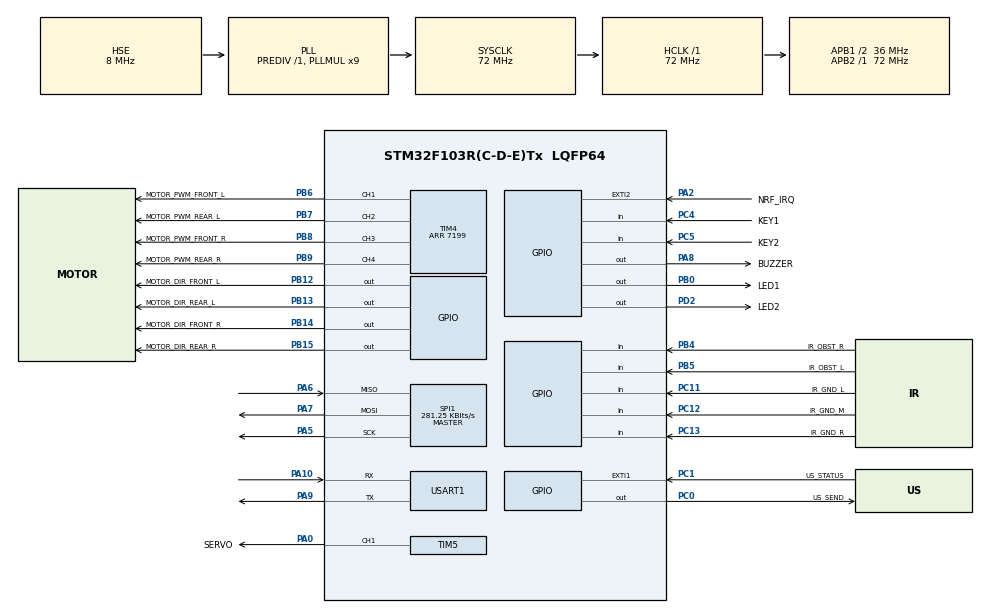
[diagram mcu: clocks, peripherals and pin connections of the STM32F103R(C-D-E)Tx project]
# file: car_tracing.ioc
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Mcu.Family=STM32F1
Mcu.Name=STM32F103R(C-D-E)Tx
Mcu.Package=LQFP64
NVIC.EXTI1_IRQn=true\:2\:2\:true\:false\:true\:true\:true\:true
NVIC.EXTI2_IRQn=true\:0\:0\:false\:false\:true\:true\:true\:true
NVIC.PriorityGroup=NVIC_PRIORITYGROUP_2
PA0-WKUP.GPIO_Label=SERVO
PA0-WKUP.GPIO_Speed=GPIO_SPEED_FREQ_HIGH
PA0-WKUP.Signal=S_TIM5_CH1
PA10.Mode=Asynchronous
PA10.Signal=USART1_RX
PA13.Mode=Serial_Wire
PA13.Signal=SYS_JTMS-SWDIO
PA14.Mode=Serial_Wire
PA14.Signal=SYS_JTCK-SWCLK
PA2.GPIO_Label=NRF_IRQ
PA2.GPIO_ModeDefaultEXTI=GPIO_MODE_IT_FALLING
PA2.GPIO_PuPd=GPIO_PULLDOWN
PA2.Signal=GPXTI2
PA5.Mode=Full_Duplex_Master
PA5.Signal=SPI1_SCK
PA6.Mode=Full_Duplex_Master
PA6.Signal=SPI1_MISO
PA7.Mode=Full_Duplex_Master
PA7.Signal=SPI1_MOSI
PA8.GPIO_Label=BUZZER
PA8.GPIO_Speed=GPIO_SPEED_FREQ_HIGH
PA8.PinState=GPIO_PIN_SET
PA8.Signal=GPIO_Output
PA9.Mode=Asynchronous
PA9.Signal=USART1_TX
PB0.GPIO_Label=LED1
PB0.GPIO_Speed=GPIO_SPEED_FREQ_HIGH
PB0.PinState=GPIO_PIN_SET
PB0.Signal=GPIO_Output
PB12.GPIO_Label=MOTOR_DIR_FRONT_L
PB12.GPIO_Speed=GPIO_SPEED_FREQ_HIGH
PB12.Signal=GPIO_Output
PB13.GPIO_Label=MOTOR_DIR_REAR_L
PB13.GPIO_Speed=GPIO_SPEED_FREQ_HIGH
PB13.Signal=GPIO_Output
PB14.GPIO_Label=MOTOR_DIR_FRONT_R
PB14.GPIO_Speed=GPIO_SPEED_FREQ_HIGH
PB14.Signal=GPIO_Output
PB15.GPIO_Label=MOTOR_DIR_REAR_R
PB15.GPIO_Speed=GPIO_SPEED_FREQ_HIGH
PB15.Signal=GPIO_Output
PB4.GPIO_Label=IR_OBST_R
PB4.GPIO_PuPd=GPIO_PULLUP
PB4.Signal=GPIO_Input
PB5.GPIO_Label=IR_OBST_L
PB5.GPIO_PuPd=GPIO_PULLUP
PB5.Signal=GPIO_Input
PB6.GPIO_Label=MOTOR_PWM_FRONT_L
PB6.GPIO_Speed=GPIO_SPEED_FREQ_HIGH
PB6.Signal=S_TIM4_CH1
PB7.GPIO_Label=MOTOR_PWM_REAR_L
PB7.GPIO_Speed=GPIO_SPEED_FREQ_HIGH
PB7.Signal=S_TIM4_CH2
PB8.GPIO_Label=MOTOR_PWM_FRONT_R
PB8.GPIO_Speed=GPIO_SPEED_FREQ_HIGH
PB8.Signal=S_TIM4_CH3
PB9.GPIO_Label=MOTOR_PWM_REAR_R
PB9.GPIO_Speed=GPIO_SPEED_FREQ_HIGH
PB9.Signal=S_TIM4_CH4
PC0.GPIO_Label=US_SEND
PC0.GPIO_Speed=GPIO_SPEED_FREQ_HIGH
PC0.Signal=GPIO_Output
PC1.GPIO_Label=US_STATUS
PC1.GPIO_PuPd=GPIO_PULLDOWN
PC1.Signal=GPXTI1
PC11.GPIO_Label=IR_GND_L
PC11.GPIO_PuPd=GPIO_PULLUP
PC11.Signal=GPIO_Input
PC12.GPIO_Label=IR_GND_M
PC12.GPIO_PuPd=GPIO_PULLUP
PC12.Signal=GPIO_Input
PC13-TAMPER-RTC.GPIO_Label=IR_GND_R
PC13-TAMPER-RTC.GPIO_PuPd=GPIO_PULLUP
PC13-TAMPER-RTC.Signal=GPIO_Input
PC4.GPIO_Label=KEY1
PC4.GPIO_PuPd=GPIO_PULLUP
PC4.Signal=GPIO_Input
PC5.GPIO_Label=KEY2
PC5.GPIO_PuPd=GPIO_PULLUP
PC5.Signal=GPIO_Input
PD0-OSC_IN.Mode=HSE-External-Oscillator
PD0-OSC_IN.Signal=RCC_OSC_IN
PD1-OSC_OUT.Mode=HSE-External-Oscillator
PD1-OSC_OUT.Signal=RCC_OSC_OUT
PD2.GPIO_Label=LED2
PD2.GPIO_Speed=GPIO_SPEED_FREQ_HIGH
PD2.PinState=GPIO_PIN_SET
PD2.Signal=GPIO_Output
ProjectManager.HeapSize=0x200
ProjectManager.StackSize=0x400
ProjectManager.TargetToolchain=STM32CubeIDE
RCC.AHBFreq_Value=72000000
RCC.APB1CLKDivider=RCC_HCLK_DIV2
RCC.APB1Freq_Value=36000000
RCC.APB1TimFreq_Value=72000000
RCC.APB2Freq_Value=72000000
RCC.APB2TimFreq_Value=72000000
RCC.HCLKFreq_Value=72000000
RCC.PLLMUL=RCC_PLL_MUL9
RCC.PLLSourceVirtual=RCC_PLLSOURCE_HSE
RCC.SYSCLKFreq_VALUE=72000000
RCC.SYSCLKSource=RCC_SYSCLKSOURCE_PLLCLK
RCC.USBFreq_Value=72000000
SH.S_TIM4_CH1.0=TIM4_CH1,PWM Generation1 CH1
SH.S_TIM4_CH2.0=TIM4_CH2,PWM Generation2 CH2
SH.S_TIM4_CH3.0=TIM4_CH3,PWM Generation3 CH3
SH.S_TIM4_CH4.0=TIM4_CH4,PWM Generation4 CH4
SH.S_TIM5_CH1.0=TIM5_CH1,PWM Generation1 CH1
SPI1.BaudRatePrescaler=SPI_BAUDRATEPRESCALER_256
SPI1.CRCCalculation=SPI_CRCCALCULATION_DISABLE
SPI1.CalculateBaudRate=281.25 KBits/s
SPI1.Direction=SPI_DIRECTION_2LINES
SPI1.Mode=SPI_MODE_MASTER
SPI1.VirtualType=VM_MASTER
TIM1.Prescaler=71
TIM2.Period=5000
TIM2.Prescaler=7199
TIM4.AutoReloadPreload=TIM_AUTORELOAD_PRELOAD_ENABLE
TIM4.Channel-PWM\ Generation1\ CH1=TIM_CHANNEL_1
TIM4.Channel-PWM\ Generation2\ CH2=TIM_CHANNEL_2
TIM4.Channel-PWM\ Generation3\ CH3=TIM_CHANNEL_3
TIM4.Channel-PWM\ Generation4\ CH4=TIM_CHANNEL_4
TIM4.OCMode_PWM-PWM\ Generation1\ CH1=TIM_OCMODE_PWM2
TIM4.OCMode_PWM-PWM\ Generation2\ CH2=TIM_OCMODE_PWM2
TIM4.OCMode_PWM-PWM\ Generation3\ CH3=TIM_OCMODE_PWM2
TIM4.OCMode_PWM-PWM\ Generation4\ CH4=TIM_OCMODE_PWM2
TIM4.Period=7199
TIM5.AutoReloadPreload=TIM_AUTORELOAD_PRELOAD_ENABLE
TIM5.Channel-PWM\ Generation1\ CH1=TIM_CHANNEL_1
TIM5.Channel-PWM\ Generation2\ No\ Output=TIM_CHANNEL_2
TIM5.OC2Preload_PWM=ENABLE
TIM5.Period=9999
TIM5.Prescaler=143
TIM5.TIM_MasterOutputTrigger=TIM_TRGO_RESET
USART1.VirtualMode=VM_ASYNC
VP_TIM1_VS_ClockSourceINT.Mode=Internal
VP_TIM2_VS_ClockSourceINT.Mode=Internal
VP_TIM4_VS_ClockSourceINT.Mode=Internal
VP_TIM5_VS_ClockSourceINT.Mode=Internal
VP_TIM5_VS_no_output2.Mode=PWM Generation2 No Output
board=custom

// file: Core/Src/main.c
/* USER CODE BEGIN Header */
/**
  ******************************************************************************
  * @file           : main.c
  * @brief          : Main program body
  ******************************************************************************
  * @attention
  *
  * Copyright (c) 2024 STMicroelectronics.
  * All rights reserved.
  *
  * This software is licensed under terms that can be found in the LICENSE file
  * in the root directory of this software component.
  * If no LICENSE file comes with this software, it is provided AS-IS.
  *
  ******************************************************************************
  */
/* USER CODE END Header */
#include "main.h"
#include "spi.h"
#include "tim.h"
#include "usart.h"
#include "gpio.h"

/* USER CODE BEGIN Includes */
//#include "myMotor.h"
#include "utils.h"
#include "strings.h"
#include "24l01.h"
#include "atk_ms6050.h"
#include "inv_mpu.h"
/* USER CODE END Includes */

/* USER CODE BEGIN PV */
const uint32_t interval_millis = 500;
uint32_t current_millis = 0;
uint8_t nrf_rx_buf[32] = {0};
uint8_t nrf_tx_buf[32] = {0};
uint8_t command_ready = 0;
extern float desired_yaw;

/* USER CODE END PV */

void SystemClock_Config(void);

int main(void)
{

  /* MCU Configuration--------------------------------------------------------*/

  /* Reset of all peripherals, Initializes the Flash interface and the Systick. */
  HAL_Init();

  /* Configure the system clock */
  SystemClock_Config();

  /* Initialize all configured peripherals */
  MX_GPIO_Init();
  MX_TIM5_Init();
  MX_TIM2_Init();
  MX_TIM1_Init();
  MX_TIM4_Init();
  MX_SPI1_Init();
  MX_USART1_UART_Init();
  /* USER CODE BEGIN 2 */

  HAL_TIM_Base_Start(&htim1);
  HAL_TIM_PWM_Start(&htim4, TIM_CHANNEL_1);
  HAL_TIM_PWM_Start(&htim4, TIM_CHANNEL_2);
  HAL_TIM_PWM_Start(&htim4, TIM_CHANNEL_3);
  HAL_TIM_PWM_Start(&htim4, TIM_CHANNEL_4);
  HAL_TIM_PWM_Start(&htim5, TIM_CHANNEL_1);

  car_brake();

//  while (1) {
//
//		SearchRun();
//
//  }

  /*探测*/
  uint8_t ret;
    /* 初始化ATK-MS6050 */
    ret = atk_ms6050_init();
    if (ret != 0)
    {
  //      HAL_UART_Transmit(&huart1, (uint8_t*)"ATK-MS6050 init failed!\r\n", strlen("ATK-MS6050 init failed!\r\n"), HAL_MAX_DELAY);
        while (1)
        {
      	  TOGGLE_LED1;
            HAL_Delay(200);
        }
    }

    /* 初始化ATK-MS6050 DMP */
    ret = atk_ms6050_dmp_init();
    if (ret != 0)
    {
  //      HAL_UART_Transmit(&huart1, (uint8_t*)"ATK-MS6050 DMP init failed!\r\n", strlen("ATK-MS6050 DMP init failed!\r\n"), HAL_MAX_DELAY);
        while (1)
        {
        	TOGGLE_LED2;
            HAL_Delay(200);
        }
    }

    //HAL_Delay(20000);
//    desired_yaw = get_yaw();
  /////////////////////////////////////////////////////////
    //car_run_up_one();
//    detection_test(3, 0, 0, 3);
  //TURN_ON_LED1;
//  while(1){continue;}
  /////////////////////////////////////////////////////////

  TURN_OFF_BUZZER;
  car_brake();
  NRF24L01_Init();

  // Adjust servo
  turn_joint(AHEAD);

  // Check if NRF24L01 module is working
  while (NRF24L01_Check()) {
	  HAL_Delay(100);
	  TURN_ON_LED1;
  }
  TURN_OFF_LED1;

  // Test communication with the control board
  test_communication();

  //uint8_t ret;
  /* 初始化ATK-MS6050 */
  ret = atk_ms6050_init();
  if (ret != 0)
  {
//      HAL_UART_Transmit(&huart1, (uint8_t*)"ATK-MS6050 init failed!\r\n", strlen("ATK-MS6050 init failed!\r\n"), HAL_MAX_DELAY);
      while (1)
      {
    	  TOGGLE_LED1;
          HAL_Delay(200);
      }
  }

  /* 初始化ATK-MS6050 DMP */
  ret = atk_ms6050_dmp_init();
  if (ret != 0)
  {
//      HAL_UART_Transmit(&huart1, (uint8_t*)"ATK-MS6050 DMP init failed!\r\n", strlen("ATK-MS6050 DMP init failed!\r\n"), HAL_MAX_DELAY);
      while (1)
      {
      	TOGGLE_LED2;
          HAL_Delay(200);
      }
  }

  HAL_Delay(20000);
  desired_yaw = get_yaw() - 10;

  NRF24L01_RX_Mode();
  command_ready = 0;
//  demo_run();
  /* USER CODE END 2 */

  /* Infinite loop */
  /* USER CODE BEGIN WHILE */
while (1)
  {
	if (command_ready) {
//		HAL_UART_Transmit(&huart1, what, 1, HAL_MAX_DELAY);
		if (nrf_rx_buf[0] == 100){
			command_ready = 0;
			while (1) {
				TURN_ON_BUZZER;
				SearchRun();
//				car_brake();
//				HAL_Delay(400);
				if (command_ready) {
					if (nrf_rx_buf[0] == 101) {
						HAL_Delay(500);
						TURN_OFF_BUZZER;
						command_ready = 0;
						break;
					}
				}
			}
		} else {
			process_command(nrf_rx_buf);
			command_ready = 0;
		}
	}
	if (HAL_GetTick() - current_millis >= interval_millis) {
		HAL_GPIO_TogglePin(LED1_GPIO_Port, LED1_Pin);
		uint8_t distance_fetched = get_distance();
		nrf_tx_buf[0] = 0;
		nrf_tx_buf[1] = distance_fetched;
		nrf_send(nrf_tx_buf, 0);
		current_millis = HAL_GetTick();
	}

//	if (!key1 && KEY1_PRESSED) {
//		key1 = 1;
//		while (1) {
//			if (!KEY1_PRESSED) {
//				key1 = 0;
//			}
//			if (!key1 && KEY1_PRESSED) {
//				break;
//			}
//			SearchRun();
//		}
//		key1 = 0;
//	}

    /* USER CODE END WHILE */

  }
}

void SystemClock_Config(void)
{
  RCC_OscInitTypeDef RCC_OscInitStruct = {0};
  RCC_ClkInitTypeDef RCC_ClkInitStruct = {0};

  /** Initializes the RCC Oscillators according to the specified parameters
  * in the RCC_OscInitTypeDef structure.
  */
  RCC_OscInitStruct.OscillatorType = RCC_OSCILLATORTYPE_HSE;
  RCC_OscInitStruct.HSEState = RCC_HSE_ON;
  RCC_OscInitStruct.HSEPredivValue = RCC_HSE_PREDIV_DIV1;
  RCC_OscInitStruct.HSIState = RCC_HSI_ON;
  RCC_OscInitStruct.PLL.PLLState = RCC_PLL_ON;
  RCC_OscInitStruct.PLL.PLLSource = RCC_PLLSOURCE_HSE;
  RCC_OscInitStruct.PLL.PLLMUL = RCC_PLL_MUL9;
  if (HAL_RCC_OscConfig(&RCC_OscInitStruct) != HAL_OK)
  {
    Error_Handler();
  }

  /** Initializes the CPU, AHB and APB buses clocks
  */
  RCC_ClkInitStruct.ClockType = RCC_CLOCKTYPE_HCLK|RCC_CLOCKTYPE_SYSCLK
                              |RCC_CLOCKTYPE_PCLK1|RCC_CLOCKTYPE_PCLK2;
  RCC_ClkInitStruct.SYSCLKSource = RCC_SYSCLKSOURCE_PLLCLK;
  RCC_ClkInitStruct.AHBCLKDivider = RCC_SYSCLK_DIV1;
  RCC_ClkInitStruct.APB1CLKDivider = RCC_HCLK_DIV2;
  RCC_ClkInitStruct.APB2CLKDivider = RCC_HCLK_DIV1;

  if (HAL_RCC_ClockConfig(&RCC_ClkInitStruct, FLASH_LATENCY_2) != HAL_OK)
  {
    Error_Handler();
  }
}

void Error_Handler(void)
{
  __disable_irq();
  while (1)
  {
  }
}
